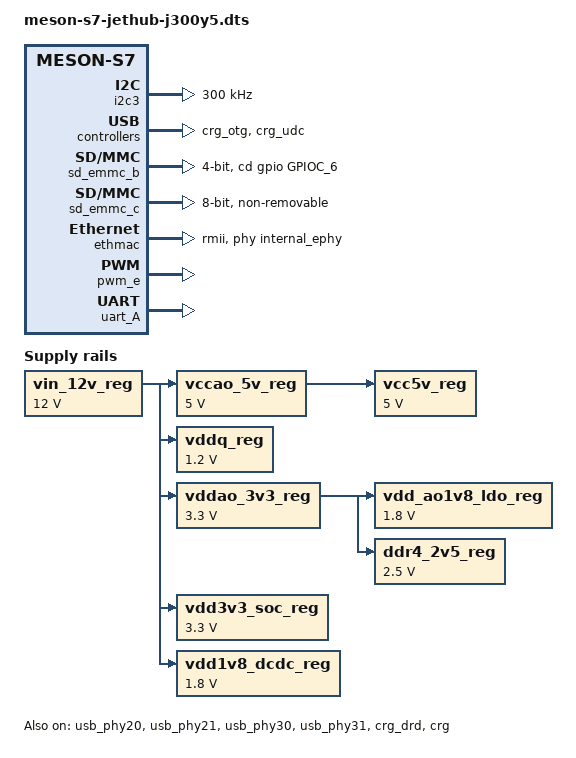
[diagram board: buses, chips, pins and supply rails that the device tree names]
// SPDX-License-Identifier: (GPL-2.0+ OR MIT)
/*
 * Copyright (c) 2019 Amlogic, Inc. All rights reserved.
 */

/dts-v1/;

#include "meson-s7.dtsi"
#include "partition_normal_linux.dtsi"

/ {
	amlogic-dt-id = "s7_s905y5_j300y5";
	compatible = "s7_s905y5_j300y5";
	interrupt-parent = <&gic>;
	#address-cells = <2>;
	#size-cells = <2>;

	aliases {
		serial0 = &uart_B;
		serial1 = &uart_A;
		serial2 = &uart_C;
		serial3 = &uart_D;
		serial4 = &uart_E;
		i2c0 = &i2c0;
		i2c1 = &i2c1;
		i2c2 = &i2c2;
		i2c3 = &i2c3;
		i2c4 = &i2c4;
		spi0 = &spifc;
		spi1 = &spicc0;
		tsensor0 = &p_tsensor;
	};

	memory@00000000 {
		device_type = "memory";
		linux,usable-memory = <0x0 0x0 0x0 0x80000000>; /* 2 GB */
	};

	reserved-memory {
		#address-cells = <2>;
		#size-cells = <2>;
		ranges;

		ramdump_bl33z@00000000 {
			reg = <0x0 0x0 0x0 0x1800000>; /* 0 ~ 24M */
			status = "disabled";
		};

		/* global autoconfigured region for contiguous allocations */
		ramoops@0x07400000 {
			compatible = "ramoops";
			reg = <0x0 0x07400000 0x0 0x00080000>;	/* addr set in uboot */
			record-size = <0x30000>;
			console-size = <0x40000>;
			ftrace-size = <0x0>;
			pmsg-size = <0x10000>;
		};

		debug_reserved:linux,iotrace {
			compatible = "amlogic, iotrace";
			reg = <0x0 0x04f00000 0x0 0x00100000>;
			io-size = <0x1b000>;
			sched-size = <0x2000>;
			irq-size = <0x1000>;
			smc-size = <0x1000>;
			misc-size = <0x1000>;
		};

		secmon_reserved:linux,secmon {
			compatible = "shared-dma-pool";
			no-map;
			alignment = <0x0 0x100000>;
			reg = <0x0 0x05000000 0x0 0x2300000>;
		};

		/*
		 * fw_cushion: protects 0x07500000+13MB from kernel allocator.
		 * BL31/BL32/AOCPU on this SoC writes here despite SDK reference
		 * not declaring it as no-map. Without this, kernel pages at this
		 * address get silently corrupted, manifesting as buddy allocator
		 * list crashes early in boot.
		 */
		fw_cushion: firmware-cushion@7500000 {
			no-map;
			reg = <0x0 0x07500000 0x0 0x00d00000>;
		};

		logo_reserved:linux,meson-fb {
			compatible = "shared-dma-pool";
			reusable;
			alignment = <0x0 0x400000>;
			reg = <0x0 0x1f800000 0x0 0x800000>;
		};

		ion_cma_reserved:linux,ion-dev {
			compatible = "shared-dma-pool";
			reusable;
			size = <0x0 0x0>;
			alignment = <0x0 0x400000>;
		};
		ion_fb_reserved:linux,ion-fb {
			compatible = "shared-dma-pool";
			reusable;
			size = <0x0 0x0>;
			alignment = <0x0 0x400000>;
		};
		dmaheap_cma_reserved:heap-gfx {
			compatible = "shared-dma-pool";
			reusable;
			size = <0x0 0x3000000>;	/* 48 MB */
			alignment = <0x0 0x400000>;
		};
		dmaheap_fb_reserved:heap-fb {
			compatible = "shared-dma-pool";
			reusable;
			size = <0x0 0x0>;
			alignment = <0x0 0x400000>;
		};
		di_cma_reserved:linux,di_cma {
			compatible = "shared-dma-pool";
			reusable;
			alignment = <0x0 0x400000>;
		};

		ppmgr_reserved:linux,ppmgr {
			compatible = "shared-dma-pool";
			size = <0x0 0x0>;
		};

		codec_mm_cma:linux,codec_mm_cma {
			compatible = "shared-dma-pool";
			reusable;
			size = <0x0 0xd000000>;	/* 208 MB */
			alignment = <0x0 0x400000>;
			linux,contiguous-region;
		};

		codec_mm_reserved:linux,codec_mm_reserved {
			compatible = "amlogic, codec-mm-reserved";
			size = <0x0 0x0>;
			alignment = <0x0 0x100000>;
		};

		secure_vdec_reserved:linux,secure_vdec_reserved {
			compatible = "amlogic, secure-vdec-reserved";
			no-map;
			size = <0x0 0x1000000>;	/* 16 MB no-map */
			alignment = <0x0 0x100000>;
		};

		vdin1_cma_reserved:linux,vdin1_cma {
			compatible = "shared-dma-pool";
			reusable;
			size = <0x0 0x00c00000>;	/* 12 MB */
			alignment = <0x0 0x400000>;
		};

		linux,cma {
			compatible = "shared-dma-pool";
			reusable;
			/*
			 * 32MB instead of SDK reference 8MB.
			 * On this board MMC/USB drivers exhaust 8MB pool at ~0.3s
			 * with -ENOMEM (verified in boot log), which leads to
			 * downstream allocator corruption. Keep larger pool.
			 */
			size = <0x0 0x2000000>;
			alignment = <0x0 0x400000>;
			linux,cma-default;
			alloc-ranges = <0x0 0x0 0x0 0x30000000>;
		};
	};

	thermal-zones {
		soc_thermal: soc_thermal {
			polling-delay = <1000>;
			polling-delay-passive = <100>;
			sustainable-power = <1160>;
			thermal-sensors = <&p_tsensor 0>;
			trips {
				pswitch_on: trip-point@0 {
					temperature = <85000>;
					hysteresis = <5000>;
					type = "passive";
				};
				pcontrol: trip-point@1 {
					temperature = <95000>;
					hysteresis = <5000>;
					type = "passive";
				};
				phot: trip-point@2 {
					temperature = <55000>;
					hysteresis = <5000>;
					type = "hot";
				};
				pcritical: trip-point@3 {
					temperature = <105000>;
					hysteresis = <1000>;
					type = "critical";
				};
			};

			cooling-maps {
				cpufreq_cooling_map {
					trip = <&pcontrol>;
					cooling-device = <&CPU0 0 6>;
					contribution = <1024>;
				};
				gpufreq_cooling_map {
					trip = <&pcontrol>;
					cooling-device = <&gpu 0 3>;
					contribution = <1024>;
				};
				ddr0_cooling_map {
					trip = <&phot>;
					cooling-device = <&ddr_cool0 0 12>;
					contribution = <1024>;
				};
			};
		};
	};/*thermal zone end*/

	vin_12v_reg: fixedregulator@12v {
		compatible = "regulator-fixed";
		regulator-name = "12V";
		regulator-min-microvolt = <12000000>;
		regulator-max-microvolt = <12000000>;
		regulator-boot-on;
		regulator-always-on;
	};

	vccao_5v_reg: fixedregulator@vccao_5v {
		vin-supply = <&vin_12v_reg>;
		compatible = "regulator-fixed";
		regulator-name = "VCCAO_5V";
		regulator-min-microvolt = <5000000>;
		regulator-max-microvolt = <5000000>;
		regulator-boot-on;
		regulator-always-on;
	};

	vcc5v_reg: fixedregulator@vcc5v {
		vin-supply = <&vccao_5v_reg>;
		compatible = "regulator-fixed";
		regulator-name = "VCC5V";
		regulator-min-microvolt = <5000000>;
		regulator-max-microvolt = <5000000>;
		regulator-boot-on;
		regulator-always-on;
	};

	vddq_reg: fixedregulator@vddq {
		compatible = "regulator-fixed";
		vin-supply = <&vin_12v_reg>;
		regulator-name = "VDDQ";
		regulator-min-microvolt = <1200000>;
		regulator-max-microvolt = <1200000>;
		regulator-boot-on;
		regulator-always-on;
	};

	vddao_3v3_reg: fixedregulator@vddao_3v3 {
		vin-supply = <&vin_12v_reg>;
		compatible = "regulator-fixed";
		regulator-name = "VDDAO_3V3";
		regulator-min-microvolt = <3300000>;
		regulator-max-microvolt = <3300000>;
		regulator-boot-on;
		regulator-always-on;
	};

	vdd3v3_soc_reg: fixedregulator@vdd3v3_soc {
		vin-supply = <&vin_12v_reg>;
		compatible = "regulator-fixed";
		regulator-name = "VDD3V3_SOC";
		regulator-min-microvolt = <3300000>;
		regulator-max-microvolt = <3300000>;
		regulator-boot-on;
		regulator-always-on;
	};

	vdd1v8_dcdc_reg: fixedregulator@vdd1v8_dcdc {
		compatible = "regulator-fixed";
		vin-supply = <&vin_12v_reg>;
		regulator-name = "VDD1V8_DCDC";
		regulator-min-microvolt = <1800000>;
		regulator-max-microvolt = <1800000>;
		regulator-boot-on;
		regulator-always-on;
	};

	vdd_ao1v8_ldo_reg: fixedregulator@vdd_ao1v8_ldo {
		compatible = "regulator-fixed";
		vin-supply = <&vddao_3v3_reg>;
		regulator-name = "VDD_AO18_LDO";
		regulator-min-microvolt = <1800000>;
		regulator-max-microvolt = <1800000>;
		regulator-boot-on;
		regulator-always-on;
	};

	ddr4_2v5_reg: fixedregulator@ddr4_2v5 {
		vin-supply = <&vddao_3v3_reg>;
		compatible = "regulator-fixed";
		regulator-name = "DDR4_2.5V";
		regulator-min-microvolt = <2500000>;
		regulator-max-microvolt = <2500000>;
		regulator-boot-on;
		regulator-always-on;
	};
};

&i2c3 {
	status = "okay";
	pinctrl-names = "default","sleep";
	pinctrl-0=<&i2c3_pins2>;
	pinctrl-1 = <&i2c3_pins2_sleep>;
	clock-frequency = <300000>;
};

&i2c4 {
	status = "disabled";
	pinctrl-names = "default","sleep";
	pinctrl-0=<&i2c4_pins3>;
	pinctrl-1 = <&i2c4_pins3_sleep>;
	clock-frequency = <300000>;
};

&i2c1 {
	status = "disabled";
	pinctrl-names = "default","sleep";
	pinctrl-0=<&i2c1_pins2>;
	pinctrl-1 = <&i2c1_pins2_sleep>;
	clock-frequency = <300000>; /* default 100k */
};

&vddcpu0 {
	status = "okay";
};

&periphs_pinctrl {
	dvb_s_ts0_pins: dvb_s_ts0_pins {
		tsin_a {
			groups = "tsin_a_sop",
				"tsin_a_valid",
				"tsin_a_clk",
				"tsin_a_din0";
			function = "tsin_a";
		};
	};

	dvb_pins_sleep:dvb_pins_sleep {
		mux {
			groups = "GPIOZ_0",
				"GPIOZ_1",
				"GPIOZ_2",
				"GPIOZ_3";
			function = "gpio_periphs";
		};
	};
}; /* end of periphs_pinctrl */

&usb_phy20 {
	status = "okay";
	portnum = <1>;
};

&usb_phy21 {
	status = "okay";
	portnum = <1>;
};

&usb_phy30 {
	status = "okay";
	portnum = <0>;
};

&usb_phy31 {
	status = "okay";
	portnum = <0>;
};

&crg_otg {
	status = "okay";
	controller-type = <1>; /* 0~3: normal, host, device, otg */
};

&crg_drd {
	status = "okay";
};

&crg_udc {
	status = "okay";
};

&crg {
	status = "okay";
};

/* SD card */
&sd_emmc_b {
	status = "okay";
	pinctrl-0 = <&sdcard_pins>;
	pinctrl-1 = <&sdcard_clk_gate_pins>;
	pinctrl-2 = <&sd_1bit_pins>;
	//pinctrl-3 = <&sd_to_ao_uart_clr_pins
	//	&sdcard_pins &ao_to_sd_uart_pins>;
	//pinctrl-4 = <&sd_to_ao_uart_clr_pins
	//	&sd_1bit_pins &ao_to_sd_uart_pins>;
	//pinctrl-5 = <&sdcard_pins &ao_uart_pins>;
	//pinctrl-6 = <&sd_to_ao_uart_clr_pins
	//	&ao_to_sd_uart_pins>;
	//pinctrl-7 = <&sdcard_pins &ao_uart_pins>;
	//pinctrl-8 = <&sd_to_ao_uart_clr_pins
	//	&ao_to_sd_uart_pins>;
	pinctrl-names = "sd_default",
			"clk-gate",
			"sd_1bit_pins";
	//		"sd_clk_cmd_uart_pins",
	//		"sd_1bit_uart_pins",
	//		"sd_to_ao_uart_pins",
	//		"ao_to_sd_uart_pins",
	//		"sd_to_ao_jtag_pins",
	//		"ao_to_sd_jtag_pins";
	bus-width = <4>;
	cap-sd-highspeed;
//	sd-uhs-sdr12;
//	sd-uhs-sdr25;
//	sd-uhs-sdr50;
//	sd-uhs-sdr104;
	max-frequency = <200000000>;
	disable-wp;

	cd-gpios = <&gpio GPIOC_6 GPIO_ACTIVE_HIGH>;
	//dat1-gpios = <&gpio GPIOC_1 GPIO_ACTIVE_HIGH>;
	//vmmc-supply = <&vddao_3v3>;
	//vqmmc-supply = <&emmc_1v8>;
};

&sd_emmc_c {
	status = "okay";
	pinctrl-0 = <&emmc_pins>, <&emmc_ds_pins>;
	pinctrl-1 = <&emmc_clk_gate_pins>;
	pinctrl-names = "default", "clk-gate";

	bus-width = <8>;
	cap-mmc-highspeed;
//	mmc-ddr-1_8v;
	mmc-hs200-1_8v;
	mmc-hs400-1_8v;
	max-frequency = <200000000>;
	non-removable;
	disable-wp;

//	mmc-pwrseq = <&emmc_pwrseq>;
//	vmmc-supply = <&vddao_3v3>;
//	vqmmc-supply = <&vddao_1v8>;
};

&ethmac {
	pinctrl-0 = <&eth_led_pins>;
	pinctrl-names = "default";
	status = "okay";
	phy-handle = <&internal_ephy>;
	phy-mode = "rmii";
};

&spicc0 {
	status = "disabled";
	pinctrl-names = "default", "sleep";
	pinctrl-0 = <&spicc0_pins_z>;
	pinctrl-1 = <&spicc0_pins_z_sleep>;
};

&pwm_e {
	pinctrl-0 = <&pwm_e_pins1>;
	pinctrl-1 = <&pwm_e_pins1_sleep>;
	pinctrl-names = "default","sleep";
	status = "okay";
};

&uart_A {
	status = "okay";
	uart-has-rtscts;
};

&codec_mm {
	status = "disabled";
};

&fb {
	status = "disabled";
};

&gpu {
	status = "disabled";
};

